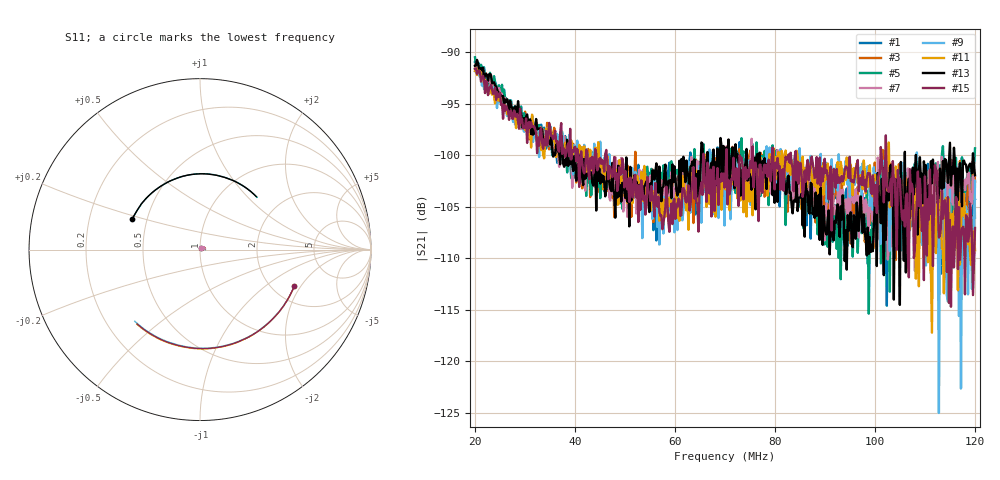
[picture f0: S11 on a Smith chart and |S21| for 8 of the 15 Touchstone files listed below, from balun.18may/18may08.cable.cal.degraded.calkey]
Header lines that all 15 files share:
! Anritsu VNA Master:  Model: MS2036C/10/77
! SN:  1601066
! Existing Calibration Information:
! TYPE:  Current Settings,  Active Cal Settings
! # POINTS:  500,  500
! START FREQ:  20.000 MHz,  20.000 MHz
! STOP FREQ:  120.000 MHz,  120.000 MHz
! SOURCE POWER:  High,  High
! IFBW:  50 Hz,  50 Hz
! AVG FACTOR:  1 ,  1
! REF PLANE 1:  0 mm,  0 mm
! REF PLANE 2:  0 mm,  0 mm
! CAL TYPE:  Full S11,  Full S11
! CAL METHOD:  SOLT,  SOLT
! CAL LINE TYPE:  Coax,  Coax
! DUT PORT 1:  K-Conn(F),  K-Conn(F)
! DUT PORT 2:  K-Conn(F),  K-Conn(F)
! CAL STATUS:  OK: Accuracy High,  --
# GHZ S DB R 50.0
! FREQ.GHZ  S11DB  S11A  S21DB  S21A  S12DB  S12A  S22DB  S22A
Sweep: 20 MHz to 120 MHz
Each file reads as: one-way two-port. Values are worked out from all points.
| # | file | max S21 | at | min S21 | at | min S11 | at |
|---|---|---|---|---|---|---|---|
| 1 | bot.1.s2p | -90.79 dB | 20.2 MHz | -114.6 dB | 102.4 MHz | -39.7 dB | 20 MHz |
| 2 | bot.19p46.1.s2p | -90.82 dB | 20 MHz | -113.3 dB | 96.15 MHz | -7.3 dB | 27.82 MHz |
| 3 | bot.50.2.s2p | -90.78 dB | 20.2 MHz | -111.5 dB | 111.2 MHz | -38.8 dB | 20 MHz |
| 4 | top.19p46.1.s2p | -90.74 dB | 20 MHz | -113.7 dB | 100.2 MHz | -7.3 dB | 27.82 MHz |
| 5 | top.20.2.s2p | -90.49 dB | 20 MHz | -115.4 dB | 98.76 MHz | -7.3 dB | 25.81 MHz |
| 6 | top.49p99.1.s2p | -91.08 dB | 20.2 MHz | -113.7 dB | 105.2 MHz | -39.7 dB | 20 MHz |
| 7 | top.50.2.s2p | -91.31 dB | 20.4 MHz | -111.2 dB | 108 MHz | -38.9 dB | 20 MHz |
| 8 | top.194p65.1.s2p | -91.34 dB | 20 MHz | -116.8 dB | 116.2 MHz | -4.9 dB | 119.8 MHz |
| 9 | top.200.2.s2p | -91.85 dB | 20 MHz | -125.0 dB | 112.8 MHz | -4.9 dB | 119.8 MHz |
| 10 | unused.19p46.1.s2p | -90.90 dB | 20.4 MHz | -116.0 dB | 90.14 MHz | -7.2 dB | 27.82 MHz |
| 11 | unused.194p65.1.s2p | -91.48 dB | 20.8 MHz | -117.2 dB | 111.4 MHz | -4.9 dB | 119.4 MHz |
| 12 | unused.194p65.anomalous.0.s2p | -90.48 dB | 20.2 MHz | -117.6 dB | 96.15 MHz | -54.7 dB | 20 MHz |
| 13 | uu.20.2.18may08.s2p | -90.75 dB | 20.4 MHz | -114.5 dB | 105 MHz | -7.3 dB | 25.81 MHz |
| 14 | uu.50.2.18may08.s2p | -90.96 dB | 21 MHz | -113.1 dB | 108.8 MHz | -39.3 dB | 20.2 MHz |
| 15 | uu.200.2.18may08.s2p | -91.58 dB | 20.2 MHz | -114.7 dB | 115.2 MHz | -4.9 dB | 119.8 MHz |
